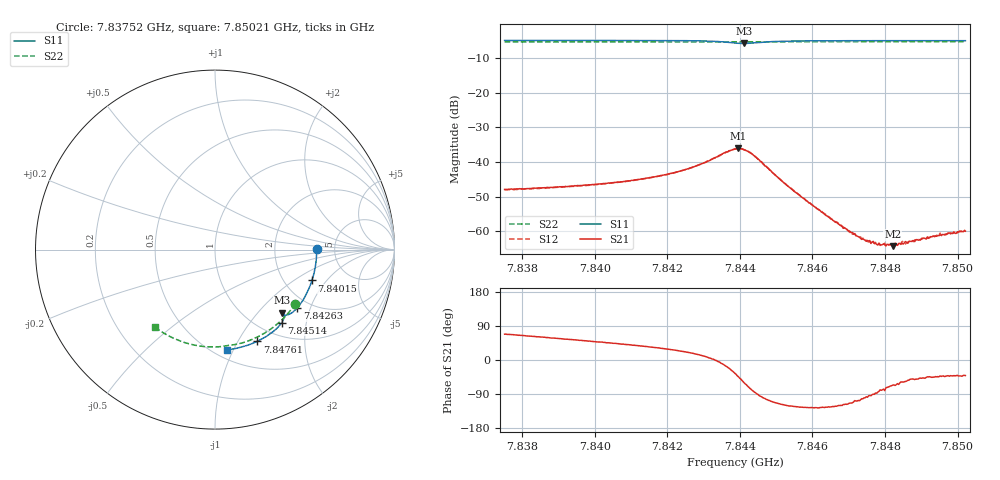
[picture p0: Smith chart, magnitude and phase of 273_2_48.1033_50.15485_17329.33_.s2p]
#  HZ  S  RI  R  50.00
! Rohde & Schwarz Vector Network Analyzer
! Rohde-Schwarz,ZNB20-2Port,1311601062101988,3.16
! Created: UTC 12/23/2023, 4:02:00 AM
! freq[Hz]  re:S11  im:S11  re:S21  im:S21  re:S12  im:S12  re:S22  im:S22
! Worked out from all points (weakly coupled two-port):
!   401 points, 7.83752 GHz to 7.85021 GHz, reference 50 ohm
!   highest |S21| = -36.10 dB at 7.84396 GHz (marker M1); lowest = -64.3 dB at 7.84821 GHz (marker M2)
!   lowest |S11| = -5.8 dB at 7.84412 GHz (marker M3), VSWR 3.11, Z = 71.4 - j68.2 ohm
!   |S11| at or under -10 dB: nowhere
!   |S22| runs from -5.4 to -5.3 dB; largest |S21 - S12| = 0.00027
!   S11 on the Smith chart (normalised r, x): 7.83752 GHz: 3.61, +0.02; 7.84015 GHz: 2.82, -1.43; 7.84263 GHz: 1.72, -1.63; 7.84514 GHz: 1.24, -1.45; 7.84761 GHz: 0.81, -1.21; 7.85021 GHz: 0.58, -0.95
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7.837518e9  0.5666 0.00146  0.00149 0.00371  0.0015 0.00366  0.4483 -0.3006
7.839644e9  0.5497 -0.1391  0.00284 0.00357  0.00281 0.00355  0.3498 -0.412
7.840152e9  0.5402 -0.172  0.00326 0.00353  0.00323 0.00352  0.3222 -0.4345
7.841771e9  0.4951 -0.2734  0.00531 0.00332  0.00527 0.00329  0.2248 -0.4926
7.842628e9  0.4587 -0.3241  0.00772 0.00267  0.00769 0.00269  0.1686 -0.5146
7.84339e9  0.411 -0.3615  0.0118 -0.000789  0.012 -0.000661  0.1165 -0.528
7.843866e9  0.3761 -0.3605  0.0126 -0.00893  0.0124 -0.00894  0.0846 -0.5324
7.843961e9  0.373 -0.3567  0.0112 -0.0109  0.0113 -0.0109  0.0785 -0.5331
7.84412e9  0.3738 -0.3515  0.00738 -0.013  0.0076 -0.0129  0.0686 -0.5345
7.844406e9  0.383 -0.3574  0.00106 -0.0121  0.00106 -0.012  0.0503 -0.5378
7.845136e9  0.3716 -0.4073  -0.00243 -0.00485  -0.00249 -0.00488  -0.000594 -0.5426
7.845993e9  0.3288 -0.4529  -0.00138 -0.00193  -0.00141 -0.00196  -0.0611 -0.5402
7.84704e9  0.2688 -0.4938  -0.000398 -0.000906  -0.000359 -0.000865  -0.1337 -0.5278
7.847421e9  0.2459 -0.506  -0.000132 -0.000745  -0.000175 -0.000747  -0.1598 -0.5207
7.847612e9  0.2345 -0.5117  -5.08e-05 -0.000662  -1.82e-05 -0.000672  -0.1722 -0.5167
7.847834e9  0.2209 -0.5178  8.61e-05 -0.000656  7.92e-05 -0.00067  -0.1871 -0.5117
7.848119e9  0.2029 -0.5252  0.000214 -0.000598  0.000232 -0.000604  -0.2058 -0.5048
7.848215e9  0.1968 -0.5274  0.000245 -0.000555  0.000245 -0.000592  -0.212 -0.5021
7.848373e9  0.187 -0.531  0.000285 -0.000598  0.000309 -0.000571  -0.2222 -0.4978
7.849453e9  0.1175 -0.5504  0.000621 -0.000596  0.000648 -0.000611  -0.2894 -0.4626
7.849992e9  0.0822 -0.5565  0.000747 -0.000635  0.000709 -0.000626  -0.321 -0.4419
7.850214e9  0.0674 -0.5584  0.000753 -0.000656  0.00078 -0.000685  -0.3333 -0.4326
